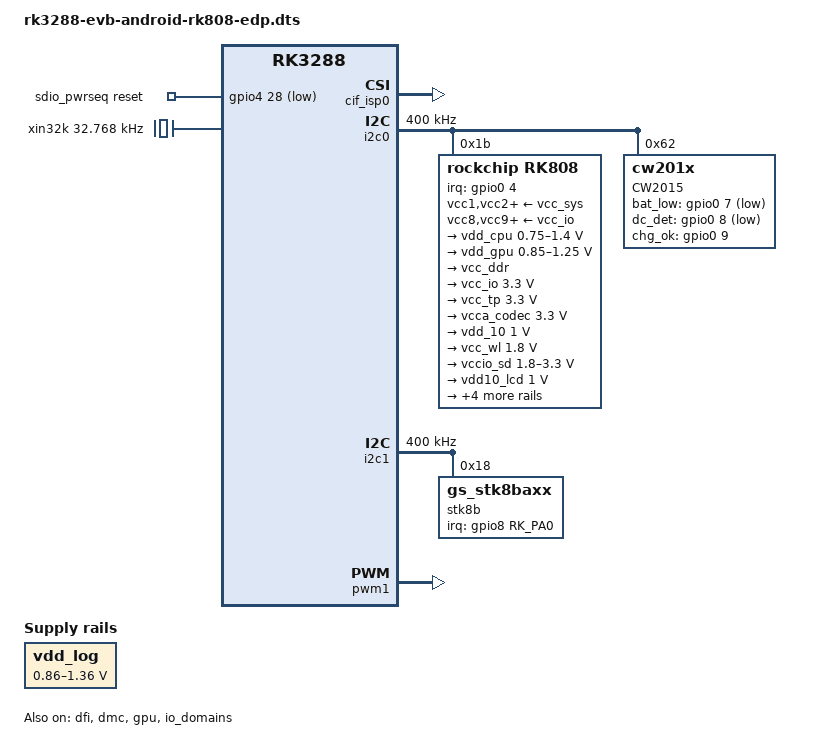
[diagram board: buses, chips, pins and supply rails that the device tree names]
/*
 * This file is dual-licensed: you can use it either under the terms
 * of the GPL or the X11 license, at your option. Note that this dual
 * licensing only applies to this file, and not this project as a
 * whole.
 *
 *  a) This file is free software; you can redistribute it and/or
 *     modify it under the terms of the GNU General Public License as
 *     published by the Free Software Foundation; either version 2 of the
 *     License, or (at your option) any later version.
 *
 *     This file is distributed in the hope that it will be useful,
 *     but WITHOUT ANY WARRANTY; without even the implied warranty of
 *     MERCHANTABILITY or FITNESS FOR A PARTICULAR PURPOSE.  See the
 *     GNU General Public License for more details.
 *
 * Or, alternatively,
 *
 *  b) Permission is hereby granted, free of charge, to any person
 *     obtaining a copy of this software and associated documentation
 *     files (the "Software"), to deal in the Software without
 *     restriction, including without limitation the rights to use,
 *     copy, modify, merge, publish, distribute, sublicense, and/or
 *     sell copies of the Software, and to permit persons to whom the
 *     Software is furnished to do so, subject to the following
 *     conditions:
 *
 *     The above copyright notice and this permission notice shall be
 *     included in all copies or substantial portions of the Software.
 *
 *     THE SOFTWARE IS PROVIDED "AS IS", WITHOUT WARRANTY OF ANY KIND,
 *     EXPRESS OR IMPLIED, INCLUDING BUT NOT LIMITED TO THE WARRANTIES
 *     OF MERCHANTABILITY, FITNESS FOR A PARTICULAR PURPOSE AND
 *     NONINFRINGEMENT. IN NO EVENT SHALL THE AUTHORS OR COPYRIGHT
 *     HOLDERS BE LIABLE FOR ANY CLAIM, DAMAGES OR OTHER LIABILITY,
 *     WHETHER IN AN ACTION OF CONTRACT, TORT OR OTHERWISE, ARISING
 *     FROM, OUT OF OR IN CONNECTION WITH THE SOFTWARE OR THE USE OR
 *     OTHER DEALINGS IN THE SOFTWARE.
 */

/dts-v1/;
#include "rk3288-evb.dtsi"
#include "rk3288-android.dtsi"
#include <dt-bindings/display/rk_fb.h>
#include <dt-bindings/pinctrl/rockchip.h>
#include <dt-bindings/sensor-dev.h>

#include "rk3288-r100u-mipi-8inch-800x1280.dtsi"
// #include "rk3288-r100u-edp-15p6inch-1920x1080.dtsi"

/ {
	compatible = "rockchip,rk3288-evb-android-rk808-edp", "rockchip,rk3288";
	
	// backlight: backlight {
    // compatible = "pwm-backlight";
    // brightness-levels = 
    //     <
    //       0   1   2   3   4   5   6   7
    //       8   9  10  11  12  13  14  15
    //      16  17  18  19  20  21  22  23
    //      24  25  26  27  28  29  30  31
    //      32  33  34  35  36  37  38  39
    //      40  41  42  43  44  45  46  47
    //      48  49  50  51  52  53  54  55
    //      56  57  58  59  60  61  62  63
    //      64  65  66  67  68  69  70  71
    //      72  73  74  75  76  77  78  79
    //      80  81  82  83  84  85  86  87
    //      88  89  90  91  92  93  94  95
    //      96  97  98  99 100 101 102 103
    //     104 105 106 107 108 109 110 111
    //     112 113 114 115 116 117 118 119
    //     120 121 122 123 124 125 126 127
    //     128 129 130 131 132 133 134 135
    //     136 137 138 139 140 141 142 143
    //     144 145 146 147 148 149 150 151
    //     152 153 154 155 156 157 158 159
    //     160 161 162 163 164 165 166 167
    //     168 169 170 171 172 173 174 175
    //     176 177 178 179 180 181 182 183
    //     184 185 186 187 188 189 190 191
    //     192 193 194 195 196 197 198 199
    //     200 201 202 203 204 205 206 207
    //     208 209 210 211 212 213 214 215
    //     216 217 218 219 220 221 222 223
    //     224 225 226 227 228 229 230 231
    //     232 233 234 235 236 237 238 239
    //     240 241 242 243 244 245 246 247
    //     248 249 250 251 252 253 254 255>;
    //     default-brightness-level = <128>;
    //     enable-gpios = <&gpio7 2 GPIO_ACTIVE_HIGH>;
    //     pinctrl-names = "default";
    //     pinctrl-0 = <&bl_en>;
    //     pwms = <&pwm0 0 1000000 0>;
    // };

	sdio_pwrseq: sdio-pwrseq {
		compatible = "mmc-pwrseq-simple";
		clocks = <&rk808 1>;
		clock-names = "ext_clock";
		pinctrl-names = "default";
		pinctrl-0 = <&wifi_enable_h>;

		/*
		 * On the module itself this is one of these (depending
		 * on the actual card populated):
		 * - SDIO_RESET_L_WL_REG_ON
		 * - PDN (power down when low)
		 */
		reset-gpios = <&gpio4 28 GPIO_ACTIVE_LOW>;
	};

	wireless-bluetooth {
		clocks = <&rk808 1>;
		clock-names = "ext_clock";
	};

	/delete-node/ sdmmc-regulator;

	vdd_log: vdd-logic {
		compatible = "pwm-regulator";
		rockchip,pwm_id = <1>;
		rockchip,pwm_voltage = <1100000>;
		pwms = <&pwm1 0 25000 1>;
		regulator-name = "vcc_log";
		regulator-min-microvolt = <860000>;
		regulator-max-microvolt = <1360000>;
		regulator-always-on;
		regulator-boot-on;
	};
	
	xin32k: xin32k {
		compatible = "fixed-clock";
		clock-frequency = <32768>;
		clock-output-names = "xin32k";
		#clock-cells = <0>;
	};
};

&cpu0 {
	cpu-supply = <&vdd_cpu>;
};

&cif_isp0 {
	status = "okay";
};

&dfi {
	status = "okay";
};

&dmc {
	center-supply = <&vdd_log>;
	status = "okay";
};

// &dsi0 {
// 	status = "okay";
// 	rockchip,lane-rate = <420>;

// 	panel: panel {
//         status = "okay";
// 		compatible = "simple-panel-dsi";
// 		reg = <0>;
// 		backlight = <&backlight>;
//         // mipi_standby_gpio = <&gpio7 10 GPIO_ACTIVE_LOW>;
// 	    3v3_gpio = <&gpio0 13 GPIO_ACTIVE_LOW>;
// 	    enable = <&gpio5 13 GPIO_ACTIVE_HIGH>;     
//         reset = <&gpio7 4 GPIO_ACTIVE_LOW>;
//         dsi,flags = <(MIPI_DSI_MODE_VIDEO | MIPI_DSI_MODE_VIDEO_BURST | MIPI_DSI_MODE_LPM)>;
//         dsi,format = <MIPI_DSI_FMT_RGB888>;
//         bus-format = <MEDIA_BUS_FMT_RBG888_1X24>;
//         dsi,lanes = <4>;
//         //dsi,channel = <1>;
//         reset-delay-ms = <30>;
//         init-delay-ms = <120>;
//         enable-delay-ms = <30>;
//         prepare-delay-ms = <30>;
//         unprepare-delay-ms = <30>; 
//         panel-init-sequence = [  
//             15 00 02 E0 00
//             15 00 02 E1 93
//             15 00 02 E2 65
//             15 00 02 E3 F8
//             15 00 02 E0 00
//             15 00 02 70 02
//             15 00 02 71 23
//             15 00 02 72 06
//             15 00 02 80 03
//             15 00 02 E6 02
//             15 00 02 E7 02
//             15 00 02 E0 01
//             15 00 02 00 00
//             15 00 02 01 A0
//             15 00 02 03 00
//             15 00 02 04 A0
//             15 00 02 17 00
//             15 00 02 18 B1
//             15 00 02 19 00
//             15 00 02 1A 00
//             15 00 02 1B B1
//             15 00 02 1C 00
//             15 00 02 1F 3E
//             15 00 02 20 2D	
//             15 00 02 21 2D
//             15 00 02 22 0E
//             15 00 02 37 19
//             15 00 02 38 05
//             15 00 02 39 08
//             15 00 02 3A 12
//             15 00 02 3C 78
//             15 00 02 3E 80
//             15 00 02 3F 80
//             15 00 02 40 06
//             15 00 02 41 A0
//             //15 00 02 4A 35  // test mode on
//             15 00 02 55 0F
//             15 00 02 56 01
//             15 00 02 57 69
//             15 00 02 58 0A
//             15 00 02 59 0A
//             15 00 02 5A 28
//             15 00 02 5B 19
//             15 00 02 5D 7C
//             15 00 02 5E 5E
//             15 00 02 5F 4E
//             15 00 02 60 41
//             15 00 02 61 3F
//             15 00 02 62 31
//             15 00 02 63 37
//             15 00 02 64 23
//             15 00 02 65 3E
//             15 00 02 66 3F
//             15 00 02 67 40
//             15 00 02 68 5E
//             15 00 02 69 4F
//             15 00 02 6A 57
//             15 00 02 6B 4B
//             15 00 02 6C 49
//             15 00 02 6D 2F
//             15 00 02 6E 03
//             15 00 02 6F 00
//             15 00 02 70 7C
//             15 00 02 71 5E
//             15 00 02 72 4E
//             15 00 02 73 41
//             15 00 02 74 3F
//             15 00 02 75 31
//             15 00 02 76 37
//             15 00 02 77 23
//             15 00 02 78 3E 
//             15 00 02 79 3F
//             15 00 02 7A 40
//             15 00 02 7B 5E
//             15 00 02 7C 4F
//             15 00 02 7D 57
//             15 00 02 7E 4B
//             15 00 02 7F 49
//             15 00 02 80 2F
//             15 00 02 81 03
//             15 00 02 82 00
//             15 00 02 E0 02
//             15 00 02 00 47
//             15 00 02 01 47  
//             15 00 02 02 45
//             15 00 02 03 45
//             15 00 02 04 4B
//             15 00 02 05 4B
//             15 00 02 06 49
//             15 00 02 07 49
//             15 00 02 08 41
//             15 00 02 09 1F
//             15 00 02 0A 1F
//             15 00 02 0B 1F
//             15 00 02 0C 1F
//             15 00 02 0D 1F
//             15 00 02 0E 1F
//             15 00 02 0F 43
//             15 00 02 10 1F
//             15 00 02 11 1F
//             15 00 02 12 1F
//             15 00 02 13 1F
//             15 00 02 14 1F
//             15 00 02 15 1F
//             15 00 02 16 46
//             15 00 02 17 46
//             15 00 02 18 44
//             15 00 02 19 44
//             15 00 02 1A 4A
//             15 00 02 1B 4A
//             15 00 02 1C 48
//             15 00 02 1D 48
//             15 00 02 1E 40
//             15 00 02 1F 1F
//             15 00 02 20 1F
//             15 00 02 21 1F
//             15 00 02 22 1F
//             15 00 02 23 1F
//             15 00 02 24 1F
//             15 00 02 25 42
//             15 00 02 26 1F
//             15 00 02 27 1F
//             15 00 02 28 1F
//             15 00 02 29 1F
//             15 00 02 2A 1F
//             15 00 02 2B 1F
//             15 00 02 58 10 
//             15 00 02 59 00 
//             15 00 02 5A 00 
//             15 00 02 5B 30 
//             15 00 02 5C 03 
//             15 00 02 5D 30 
//             15 00 02 5E 01 
//             15 00 02 5F 02 
//             15 00 02 60 30 
//             15 00 02 61 01 
//             15 00 02 62 02 
//             15 00 02 63 04 
//             15 00 02 64 7F 
//             15 00 02 65 05 
//             15 00 02 66 12 
//             15 00 02 67 73 
//             15 00 02 68 05 
//             15 00 02 69 04 
//             15 00 02 6A 7F 
//             15 00 02 6B 09 
//             15 00 02 6C 00 
//             15 00 02 6D 04 
//             15 00 02 6E 04 
//             15 00 02 6F 88 
//             15 00 02 70 00 
//             15 00 02 71 00 
//             15 00 02 72 06 
//             15 00 02 73 7B 
//             15 00 02 74 00 
//             15 00 02 75 3C 
//             15 00 02 76 00 
//             15 00 02 77 0D 
//             15 00 02 78 2C 
//             15 00 02 79 00 
//             15 00 02 7A 00 
//             15 00 02 7B 00 
//             15 00 02 7C 00 
//             15 00 02 7D 03 
//             15 00 02 7E 7B 
//             15 00 02 E0 01
//             15 00 02 0E 01
//             15 00 02 E0 03
//             15 00 02 98 2F
//             15 00 02 E0 04
//             15 00 02 2B 2B
//             15 00 02 2E 44
//             15 00 02 09 10
//             15 00 02 2D 03
//             15 00 02 E0 00
//             05 78 01 11
//             05 32 01 29
//         ];
                    
//         panel-exit-sequence = [
//             05 16 01 28
//             05 78 01 10
//         ];
   
//     disp_timings: display-timings {
//         native-mode = <&timing0>;
//         timing0: timing0 {
//             screen-type = <SCREEN_MIPI>;
//             out-face    = <OUT_P888>;
//             clock-frequency = <66000000>;
//             hactive = <800>;
//             vactive = <1280>;
            
//             hback-porch = <10>;
//             hfront-porch = <42>;
//             hsync-len = <20>;
            
//             vback-porch = <4>;
//             vfront-porch = <8>;
//             vsync-len = <4>;
            
            
//             hsync-active = <0>;
//             vsync-active = <0>;
            
//             de-active = <0>;
//             pixelclk-active = <0>;
//             swap-rb = <0>;
//             swap-rg = <0>;
//             swap-gb = <0>;
//         };
// 	};
//      };
// };
 

// &route_dsi0 {
// 	status = "okay";
// };


&gpu {
	status = "okay";
	mali-supply = <&vdd_gpu>;
};

&gmac {
	max-speed = <1000>;
};

// &hdmi_analog_sound {
// 	status = "disabled";
// };

&i2c0 {
	clock-frequency = <400000>;

	rk808: pmic@1b {
		compatible = "rockchip,rk808";
		reg = <0x1b>;
		interrupt-parent = <&gpio0>;
		interrupts = <4 IRQ_TYPE_LEVEL_LOW>;
		pinctrl-names = "default";
		pinctrl-0 = <&pmic_int &global_pwroff>;
		rockchip,system-power-controller;
		wakeup-source;
		#clock-cells = <1>;
		clock-output-names = "rk808-clkout1", "rk808-clkout2";

		vcc1-supply = <&vcc_sys>;
		vcc2-supply = <&vcc_sys>;
		vcc3-supply = <&vcc_sys>;
		vcc4-supply = <&vcc_sys>;
		vcc6-supply = <&vcc_sys>;
		vcc8-supply = <&vcc_io>;
		vcc9-supply = <&vcc_io>;
		vcc12-supply = <&vcc_io>;
		vddio-supply = <&vcc_io>;

		regulators {
			vdd_cpu: DCDC_REG1 {
				regulator-always-on;
				regulator-boot-on;
				regulator-min-microvolt = <750000>;
				regulator-max-microvolt = <1400000>;
				regulator-name = "vdd_arm";
				regulator-state-mem {
					regulator-off-in-suspend;
				};
			};

			vdd_gpu: DCDC_REG2 {
				regulator-always-on;
				regulator-boot-on;
				regulator-min-microvolt = <850000>;
				regulator-max-microvolt = <1250000>;
				regulator-name = "vdd_gpu";
				regulator-ramp-delay = <6000>;
				regulator-state-mem {
					regulator-off-in-suspend;
				};
			};

			vcc_ddr: DCDC_REG3 {
				regulator-always-on;
				regulator-boot-on;
				regulator-name = "vcc_ddr";
				regulator-state-mem {
					regulator-on-in-suspend;
				};
			};

			vcc_io: DCDC_REG4 {
				regulator-always-on;
				regulator-boot-on;
				regulator-min-microvolt = <3300000>;
				regulator-max-microvolt = <3300000>;
				regulator-name = "vcc_io";
				regulator-state-mem {
					regulator-on-in-suspend;
					regulator-suspend-microvolt = <3300000>;
				};
			};

			vcc_tp: LDO_REG1 {
				regulator-always-on;
				regulator-boot-on;
				regulator-min-microvolt = <3300000>;
				regulator-max-microvolt = <3300000>;
				regulator-name = "vcc_tp";
				regulator-state-mem {
					regulator-off-in-suspend;
				};
			};

			vcca_codec: LDO_REG2 {
				regulator-always-on;
				regulator-boot-on;
				regulator-min-microvolt = <3300000>;
				regulator-max-microvolt = <3300000>;
				regulator-name = "vcca_codec";
				regulator-state-mem {
					regulator-on-in-suspend;
					regulator-suspend-microvolt = <3300000>;
				};
			};

			vdd_10: LDO_REG3 {
				regulator-always-on;
				regulator-boot-on;
				regulator-min-microvolt = <1000000>;
				regulator-max-microvolt = <1000000>;
				regulator-name = "vdd_10";
				regulator-state-mem {
					regulator-on-in-suspend;
					regulator-suspend-microvolt = <1000000>;
				};
			};

			vcc_wl: LDO_REG4 {
				regulator-always-on;
				regulator-boot-on;
				regulator-min-microvolt = <1800000>;
				regulator-max-microvolt = <1800000>;
				regulator-name = "vcc_wl";
				regulator-state-mem {
					regulator-on-in-suspend;
				};
			};

			vccio_sd: LDO_REG5 {
				regulator-always-on;
				regulator-boot-on;
				regulator-min-microvolt = <1800000>;
				regulator-max-microvolt = <3300000>;
				regulator-name = "vccio_sd";
				regulator-state-mem {
					regulator-off-in-suspend;
				};
			};

			vdd10_lcd: LDO_REG6 {
				regulator-always-on;
				regulator-boot-on;
				regulator-min-microvolt = <1000000>;
				regulator-max-microvolt = <1000000>;
				regulator-name = "vdd10_lcd";
				regulator-state-mem {
					regulator-off-in-suspend;
				};
			};

			vcc_18: LDO_REG7 {
				regulator-always-on;
				regulator-boot-on;
				regulator-min-microvolt = <1800000>;
				regulator-max-microvolt = <1800000>;
				regulator-name = "vcc_18";
				regulator-state-mem {
					regulator-on-in-suspend;
					regulator-suspend-microvolt = <1800000>;
				};
			};

			vcc18_lcd: LDO_REG8 {
				regulator-always-on;
				regulator-boot-on;
				regulator-min-microvolt = <1800000>;
				regulator-max-microvolt = <1800000>;
				regulator-name = "vcc18_lcd";
				regulator-state-mem {
					regulator-off-in-suspend;
				};
			};

			vcc_sd: SWITCH_REG1 {
				regulator-always-on;
				regulator-boot-on;
				regulator-min-microvolt = <3300000>;
				regulator-max-microvolt = <3300000>;
				regulator-name = "vcc_sd";
				regulator-state-mem {
					regulator-off-in-suspend;
				};
			};

			vcc_lcd: SWITCH_REG2 {
				regulator-always-on;
				regulator-boot-on;
				regulator-min-microvolt = <3300000>;
				regulator-max-microvolt = <3300000>;
				regulator-name = "vcc_lcd";
				regulator-state-mem {
					regulator-off-in-suspend;
				};
			};
		};
	};

	CW2015@62 {
		compatible = "cw201x";
		reg = <0x62>;
		bat_low_gpio = <&gpio0 7 GPIO_ACTIVE_LOW>;
		dc_det_gpio = <&gpio0 8 GPIO_ACTIVE_LOW>;
		chg_ok_gpio = <&gpio0 9 GPIO_ACTIVE_HIGH>;
		bat_config_info = <0x15 0x42 0x60 0x59 0x52 0x58 0x4D 0x48 0x48 0x44 0x44 0x46 0x49 0x48 0x32
			0x24 0x20 0x17 0x13 0x0F 0x19 0x3E 0x51 0x45 0x08 0x76 0x0B 0x85 0x0E 0x1C 0x2E 0x3E 0x4D 0x52 0x52
			0x57 0x3D 0x1B 0x6A 0x2D 0x25 0x43 0x52 0x87 0x8F 0x91 0x94 0x52 0x82 0x8C 0x92 0x96 0xFF 0x7B 0xBB
			0xCB 0x2F 0x7D 0x72 0xA5 0xB5 0xC1 0x46 0xAE>;
		is_dc_charge = <1>;
		is_usb_charge = <0>;
		monitor_sec = <5>;
		virtual_power = <0>;
		divider_res1 = <200>;
		divider_res2 = <200>;
	};
};

&i2c1 {
	status = "okay";
	clock-frequency = <400000>;
	
	stk8b@18 {
		compatible = "gs_stk8baxx";
		status = "okay";
		reg = <0x18>;
        type = <SENSOR_TYPE_ACCEL>;
        irq-gpio = <&gpio8 RK_PA0 GPIO_ACTIVE_HIGH>;
        irq_enable = <0>;
        poll_delay_ms = <30>;
        layout = <7>;
	};
};

&io_domains {
	status = "okay";
	audio-supply = <&vcc_io>;
	bb-supply = <&vcc_io>;
	dvp-supply = <&vcc_io>;
	flash0-supply = <&vcc_18>;
	flash1-supply = <&vcc_io>;
	gpio30-supply = <&vcc_io>;
	gpio1830 = <&vcc_io>;
	lcdc-supply = <&vcc_lcd>;
	sdcard-supply = <&vccio_sd>;
	wifi-supply = <&vcc_wl>;
};

&lvds_panel {
	power-supply = <&vcc_lcd>;
};

&rockchip_suspend {
	status = "okay";
	rockchip,pwm-regulator-config = <
	(0
	| PWM1_REGULATOR_EN
	)
	>;
};

&pwm1 {
	status = "okay";
	pinctrl-names = "active";
	pinctrl-0 = <&pwm1_pin_pull_down>;
};

&pinctrl {
	// mpu6050 {
	// 	mpu6050_irq_gpio: mpu6050-irq-gpio {
	// 		rockchip,pins = <8 0 RK_FUNC_GPIO &pcfg_pull_none>;
	// 	};
	// };
   	// backlight {
	// 	bl_en: bl-en {
    //         rockchip,pins = <7 2 RK_FUNC_GPIO &pcfg_pull_none>;
	// 	};
	// };	
};

